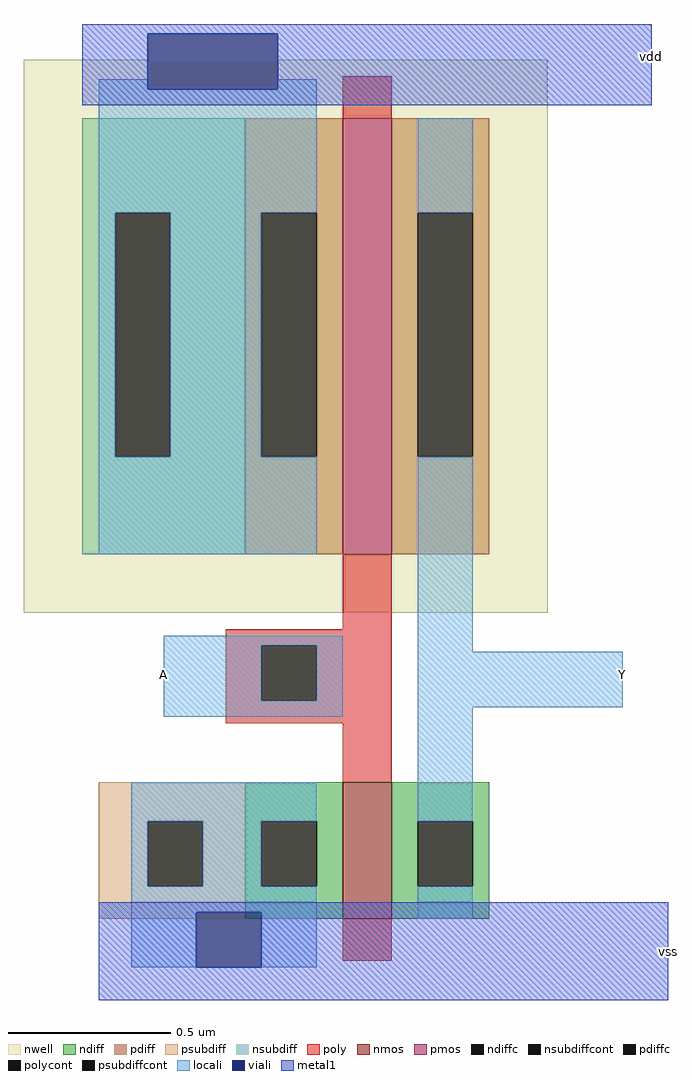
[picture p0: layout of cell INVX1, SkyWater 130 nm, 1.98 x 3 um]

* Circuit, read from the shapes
.subckt INVX1 A Y vdd vss
XM1 Y A vss vss sky130_fd_pr__nfet_01v8 w=0.42 l=0.15
XM2 Y A vdd vdd sky130_fd_pr__pfet_01v8 w=1.34 l=0.15
.ends

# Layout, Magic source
magic
tech sky130A
<< nwell >>
rect -98 94 63 264
<< nmos >>
rect 0 0 15 42
<< pmos >>
rect 0 112 15 246
<< ndiff >>
rect -30 30 0 42
rect -30 10 -25 30
rect -8 10 0 30
rect -30 0 0 10
rect 15 30 45 42
rect 15 10 23 30
rect 40 10 45 30
rect 15 0 45 10
<< pdiff >>
rect -30 217 0 246
rect -30 142 -25 217
rect -8 142 0 217
rect -30 112 0 142
rect 15 217 45 246
rect 15 142 23 217
rect 40 142 45 217
rect 15 112 45 142
<< ndiffc >>
rect -25 10 -8 30
rect 23 10 40 30
<< pdiffc >>
rect -25 142 -8 217
rect 23 142 40 217
<< psubdiff >>
rect -75 30 -30 42
rect -75 10 -60 30
rect -43 10 -30 30
rect -75 0 -30 10
<< nsubdiff >>
rect -80 217 -30 246
rect -80 142 -70 217
rect -53 142 -30 217
rect -80 112 -30 142
<< psubdiffcont >>
rect -60 10 -43 30
<< nsubdiffcont >>
rect -70 142 -53 217
<< poly >>
rect 0 246 15 259
rect 0 89 15 112
rect -36 84 15 89
rect -36 67 -25 84
rect -8 67 15 84
rect -36 60 15 67
rect 0 42 15 60
rect 0 -13 15 0
<< polycont >>
rect -25 67 -8 84
<< locali >>
rect -75 255 -60 258
rect -20 255 -8 258
rect -75 217 -8 255
rect -75 142 -70 217
rect -53 142 -25 217
rect -75 112 -8 142
rect 23 217 40 246
rect -55 84 0 87
rect -55 67 -25 84
rect -8 67 0 84
rect -55 62 0 67
rect 23 82 40 142
rect 23 65 86 82
rect -65 30 -8 42
rect -65 10 -60 30
rect -43 10 -25 30
rect -65 2 -8 10
rect -65 -15 -45 2
rect -25 -15 -8 2
rect 23 30 40 65
rect 23 0 40 10
<< viali >>
rect -60 255 -20 272
rect -45 -15 -25 2
<< metal1 >>
rect -80 272 95 275
rect -80 255 -60 272
rect -20 255 95 272
rect -80 250 95 255
rect -75 2 100 5
rect -75 -15 -45 2
rect -25 -15 100 2
rect -75 -25 100 -15
<< labels >>
rlabel locali -55 75 -55 75 7 A
port 1 w
rlabel locali 86 75 86 75 3 Y
port 2 e
rlabel metal1 95 265 95 265 3 vdd
port 3 e
rlabel metal1 100 -10 100 -10 3 vss
port 4 e
<< end >>
